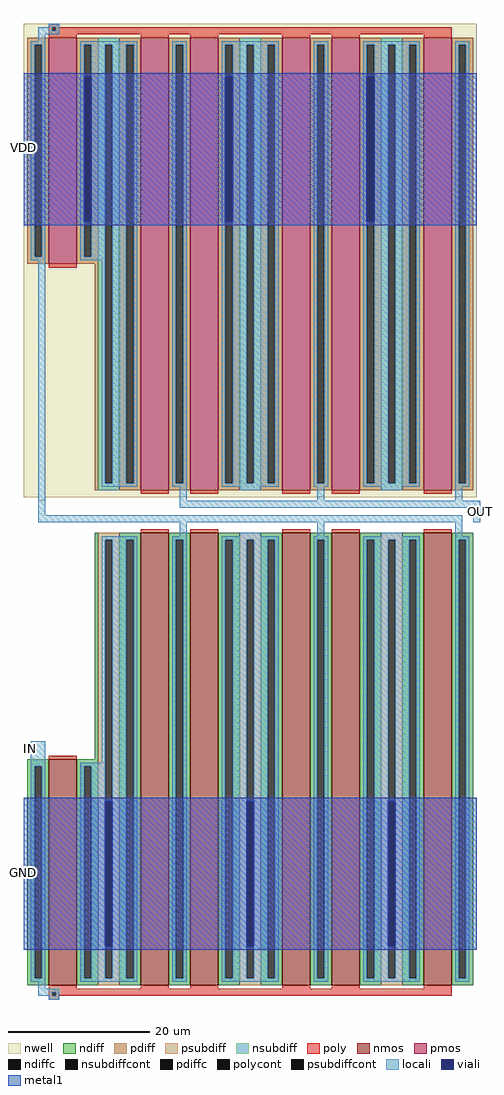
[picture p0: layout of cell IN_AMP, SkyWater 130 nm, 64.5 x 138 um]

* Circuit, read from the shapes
.subckt IN_AMP GND IN VDD OUT
XM1 GND IN IN GND sky130_fd_pr__nfet_01v8 w=32 l=4
XM2 n1 IN GND GND sky130_fd_pr__nfet_01v8 w=64 l=4 m=5
XM3 VDD n1 n1 VDD sky130_fd_pr__pfet_01v8 w=32 l=4
XM4 OUT n1 VDD VDD sky130_fd_pr__pfet_01v8 w=64 l=4 m=5
.ends

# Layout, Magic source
magic
tech sky130A
<< nwell >>
rect -400 -3350 6000 3350
rect -200 -3400 -100 -3350
<< nmos >>
rect -50 -10250 350 -7050
rect 1250 -10250 1650 -3850
rect 1950 -10250 2350 -3850
rect 3250 -10250 3650 -3850
rect 3950 -10250 4350 -3850
rect 5250 -10250 5650 -3850
<< pmos >>
rect -50 -50 350 3150
rect 1250 -3250 1650 3150
rect 1950 -3250 2350 3150
rect 3250 -3250 3650 3150
rect 3950 -3250 4350 3150
rect 5250 -3250 5650 3150
<< ndiff >>
rect 600 -7050 650 -3850
rect 950 -3950 1250 -3850
rect -350 -7150 -50 -7050
rect -350 -10150 -250 -7150
rect -150 -10150 -50 -7150
rect -350 -10250 -50 -10150
rect 350 -7150 650 -7050
rect 350 -10150 450 -7150
rect 550 -10150 650 -7150
rect 950 -10150 1050 -3950
rect 1150 -10150 1250 -3950
rect 350 -10250 650 -10150
rect 950 -10250 1250 -10150
rect 1650 -3950 1950 -3850
rect 1650 -10150 1750 -3950
rect 1850 -10150 1950 -3950
rect 1650 -10250 1950 -10150
rect 2350 -3950 2650 -3850
rect 2950 -3950 3250 -3850
rect 2350 -10150 2450 -3950
rect 2550 -10150 2650 -3950
rect 2950 -10150 3050 -3950
rect 3150 -10150 3250 -3950
rect 2350 -10250 2650 -10150
rect 2950 -10250 3250 -10150
rect 3650 -3950 3950 -3850
rect 3650 -10150 3750 -3950
rect 3850 -10150 3950 -3950
rect 3650 -10250 3950 -10150
rect 4350 -3950 4650 -3850
rect 4950 -3950 5250 -3850
rect 4350 -10150 4450 -3950
rect 4550 -10150 4650 -3950
rect 4950 -10150 5050 -3950
rect 5150 -10150 5250 -3950
rect 4350 -10250 4650 -10150
rect 4950 -10250 5250 -10150
rect 5650 -3950 5950 -3850
rect 5650 -10150 5750 -3950
rect 5850 -10150 5950 -3950
rect 5650 -10250 5950 -10150
<< pdiff >>
rect -350 3050 -50 3150
rect -350 50 -250 3050
rect -150 50 -50 3050
rect -350 -50 -50 50
rect 350 3050 650 3150
rect 950 3050 1250 3150
rect 350 50 450 3050
rect 550 50 650 3050
rect 350 -50 650 50
rect 600 -3250 650 -50
rect 950 -3150 1050 3050
rect 1150 -3150 1250 3050
rect 950 -3250 1250 -3150
rect 1650 3050 1950 3150
rect 1650 -3150 1750 3050
rect 1850 -3150 1950 3050
rect 1650 -3250 1950 -3150
rect 2350 3050 2650 3150
rect 2950 3050 3250 3150
rect 2350 -3150 2450 3050
rect 2550 -3150 2650 3050
rect 2950 -3150 3050 3050
rect 3150 -3150 3250 3050
rect 2350 -3250 2650 -3150
rect 2950 -3250 3250 -3150
rect 3650 3050 3950 3150
rect 3650 -3150 3750 3050
rect 3850 -3150 3950 3050
rect 3650 -3250 3950 -3150
rect 4350 3050 4650 3150
rect 4950 3050 5250 3150
rect 4350 -3150 4450 3050
rect 4550 -3150 4650 3050
rect 4950 -3150 5050 3050
rect 5150 -3150 5250 3050
rect 4350 -3250 4650 -3150
rect 4950 -3250 5250 -3150
rect 5650 3050 5950 3150
rect 5650 -3150 5750 3050
rect 5850 -3150 5950 3050
rect 5650 -3250 5950 -3150
<< ndiffc >>
rect -250 -10150 -150 -7150
rect 450 -10150 550 -7150
rect 1050 -10150 1150 -3950
rect 1750 -10150 1850 -3950
rect 2450 -10150 2550 -3950
rect 3050 -10150 3150 -3950
rect 3750 -10150 3850 -3950
rect 4450 -10150 4550 -3950
rect 5050 -10150 5150 -3950
rect 5750 -10150 5850 -3950
<< pdiffc >>
rect -250 50 -150 3050
rect 450 50 550 3050
rect 1050 -3150 1150 3050
rect 1750 -3150 1850 3050
rect 2450 -3150 2550 3050
rect 3050 -3150 3150 3050
rect 3750 -3150 3850 3050
rect 4450 -3150 4550 3050
rect 5050 -3150 5150 3050
rect 5750 -3150 5850 3050
<< psubdiff >>
rect 650 -3950 950 -3850
rect 650 -10150 750 -3950
rect 850 -10150 950 -3950
rect 650 -10250 950 -10150
rect 2650 -3950 2950 -3850
rect 2650 -10150 2750 -3950
rect 2850 -10150 2950 -3950
rect 2650 -10250 2950 -10150
rect 4650 -3950 4950 -3850
rect 4650 -10150 4750 -3950
rect 4850 -10150 4950 -3950
rect 4650 -10250 4950 -10150
<< nsubdiff >>
rect 650 3050 950 3150
rect 650 -3150 750 3050
rect 850 -3150 950 3050
rect 650 -3250 950 -3150
rect 2650 3050 2950 3150
rect 2650 -3150 2750 3050
rect 2850 -3150 2950 3050
rect 2650 -3250 2950 -3150
rect 4650 3050 4950 3150
rect 4650 -3150 4750 3050
rect 4850 -3150 4950 3050
rect 4650 -3250 4950 -3150
<< psubdiffcont >>
rect 750 -10150 850 -3950
rect 2750 -10150 2850 -3950
rect 4750 -10150 4850 -3950
<< nsubdiffcont >>
rect 750 -3150 850 3050
rect 2750 -3150 2850 3050
rect 4750 -3150 4850 3050
<< poly >>
rect -50 3300 100 3350
rect -50 3250 0 3300
rect 50 3250 5650 3300
rect -50 3200 5650 3250
rect -50 3150 350 3200
rect 1250 3150 1650 3200
rect 1950 3150 2350 3200
rect 3250 3150 3650 3200
rect 3950 3150 4350 3200
rect 5250 3150 5650 3200
rect -50 -100 350 -50
rect 1250 -3300 1650 -3250
rect 1950 -3300 2350 -3250
rect 3250 -3300 3650 -3250
rect 3950 -3300 4350 -3250
rect 5250 -3300 5650 -3250
rect 1250 -3850 1650 -3800
rect 1950 -3850 2350 -3800
rect 3250 -3850 3650 -3800
rect 3950 -3850 4350 -3800
rect 5250 -3850 5650 -3800
rect -50 -7050 350 -7000
rect -50 -10300 350 -10250
rect 1250 -10300 1650 -10250
rect 1950 -10300 2350 -10250
rect 3250 -10300 3650 -10250
rect 3950 -10300 4350 -10250
rect 5250 -10300 5650 -10250
rect -50 -10350 5650 -10300
rect -50 -10400 0 -10350
rect 50 -10400 5650 -10350
rect -50 -10450 100 -10400
<< polycont >>
rect 0 3250 50 3300
rect 0 -10400 50 -10350
<< locali >>
rect -50 3300 100 3350
rect -200 3250 0 3300
rect 50 3250 100 3300
rect -200 3200 100 3250
rect -200 3100 -100 3200
rect -300 3050 -100 3100
rect -300 50 -250 3050
rect -150 50 -100 3050
rect -300 0 -100 50
rect 400 3050 1200 3100
rect 400 50 450 3050
rect 550 50 750 3050
rect 400 0 750 50
rect -200 -3600 -100 0
rect 700 -3150 750 0
rect 850 -3150 1050 3050
rect 1150 -3150 1200 3050
rect 700 -3200 1200 -3150
rect 1700 3050 1900 3100
rect 1700 -3150 1750 3050
rect 1850 -3150 1900 3050
rect 1700 -3200 1900 -3150
rect 2400 3050 3200 3100
rect 2400 -3150 2450 3050
rect 2550 -3150 2750 3050
rect 2850 -3150 3050 3050
rect 3150 -3150 3200 3050
rect 2400 -3200 3200 -3150
rect 3700 3050 3900 3100
rect 3700 -3150 3750 3050
rect 3850 -3150 3900 3050
rect 3700 -3200 3900 -3150
rect 4400 3050 5200 3100
rect 4400 -3150 4450 3050
rect 4550 -3150 4750 3050
rect 4850 -3150 5050 3050
rect 5150 -3150 5200 3050
rect 4400 -3200 5200 -3150
rect 5700 3050 5900 3100
rect 5700 -3150 5750 3050
rect 5850 -3150 5900 3050
rect 5700 -3200 5900 -3150
rect 1800 -3400 1900 -3200
rect 2650 -3250 2950 -3200
rect 3750 -3400 3850 -3200
rect 4650 -3250 4950 -3200
rect 5700 -3400 5800 -3200
rect 1800 -3500 6050 -3400
rect -200 -3700 5800 -3600
rect 5950 -3700 6050 -3500
rect 1800 -3900 1900 -3700
rect 2650 -3900 2950 -3850
rect 3750 -3900 3850 -3700
rect 4650 -3900 4950 -3850
rect 5700 -3900 5800 -3700
rect 700 -3950 1200 -3900
rect -300 -7150 -100 -6800
rect 700 -7100 750 -3950
rect -300 -10150 -250 -7150
rect -150 -10150 -100 -7150
rect -300 -10200 -100 -10150
rect 400 -7150 750 -7100
rect 400 -10150 450 -7150
rect 550 -10150 750 -7150
rect 850 -10150 1050 -3950
rect 1150 -10150 1200 -3950
rect 400 -10200 1200 -10150
rect 1700 -3950 1900 -3900
rect 1700 -10150 1750 -3950
rect 1850 -10150 1900 -3950
rect 1700 -10200 1900 -10150
rect 2400 -3950 3200 -3900
rect 2400 -10150 2450 -3950
rect 2550 -10150 2750 -3950
rect 2850 -10150 3050 -3950
rect 3150 -10150 3200 -3950
rect 2400 -10200 3200 -10150
rect 3700 -3950 3900 -3900
rect 3700 -10150 3750 -3950
rect 3850 -10150 3900 -3950
rect 3700 -10200 3900 -10150
rect 4400 -3950 5200 -3900
rect 4400 -10150 4450 -3950
rect 4550 -10150 4750 -3950
rect 4850 -10150 5050 -3950
rect 5150 -10150 5200 -3950
rect 4400 -10200 5200 -10150
rect 5700 -3950 5900 -3900
rect 5700 -10150 5750 -3950
rect 5850 -10150 5900 -3950
rect 5700 -10200 5900 -10150
rect -200 -10300 -100 -10200
rect -200 -10350 100 -10300
rect -200 -10400 0 -10350
rect 50 -10400 100 -10350
rect -50 -10450 100 -10400
<< viali >>
rect 450 550 550 2600
rect 2450 550 2550 2600
rect 4450 550 4550 2600
rect 750 -9700 850 -7650
rect 2750 -9700 2850 -7650
rect 4750 -9700 4850 -7650
<< metal1 >>
rect -400 2600 6000 2650
rect -400 550 450 2600
rect 550 550 2450 2600
rect 2550 550 4450 2600
rect 4550 550 6000 2600
rect -400 500 6000 550
rect -400 -7650 6000 -7600
rect -400 -9700 750 -7650
rect 850 -9700 2750 -7650
rect 2850 -9700 4750 -7650
rect 4850 -9700 6000 -7650
rect -400 -9750 6000 -9700
<< labels >>
flabel metal1 -400 -8650 -400 -8650 0 FreeSans 800 0 0 0 GND
port 0 nsew
flabel locali -300 -6900 -300 -6900 0 FreeSans 800 0 0 0 IN
port 1 nsew
flabel metal1 -400 1600 -400 1600 0 FreeSans 800 0 0 0 VDD
port 2 nsew
flabel locali 6050 -3550 6050 -3550 0 FreeSans 800 0 0 0 OUT
port 3 nsew
<< end >>
